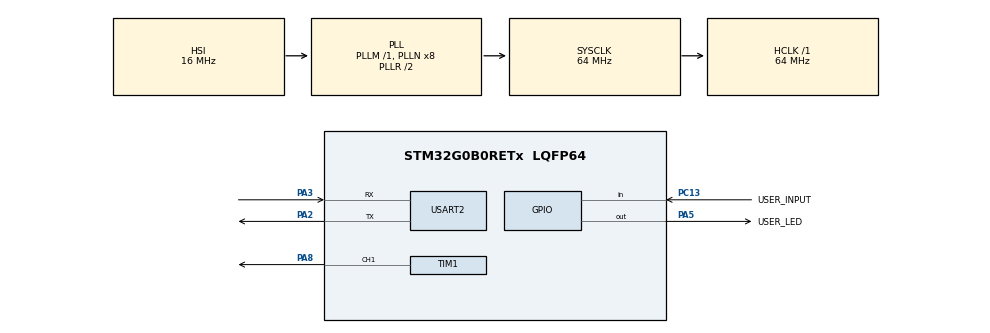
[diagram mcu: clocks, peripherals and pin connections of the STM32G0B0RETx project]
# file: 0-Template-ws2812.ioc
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Dma.Request0=TIM1_CH1
Dma.TIM1_CH1.0.Direction=DMA_MEMORY_TO_PERIPH
Dma.TIM1_CH1.0.EventEnable=DISABLE
Dma.TIM1_CH1.0.Instance=DMA1_Channel1
Dma.TIM1_CH1.0.MemDataAlignment=DMA_MDATAALIGN_HALFWORD
Dma.TIM1_CH1.0.MemInc=DMA_MINC_ENABLE
Dma.TIM1_CH1.0.Mode=DMA_NORMAL
Dma.TIM1_CH1.0.PeriphDataAlignment=DMA_PDATAALIGN_HALFWORD
Dma.TIM1_CH1.0.PeriphInc=DMA_PINC_DISABLE
Dma.TIM1_CH1.0.Polarity=HAL_DMAMUX_REQ_GEN_RISING
Dma.TIM1_CH1.0.Priority=DMA_PRIORITY_LOW
Dma.TIM1_CH1.0.RequestNumber=1
Dma.TIM1_CH1.0.SignalID=NONE
Dma.TIM1_CH1.0.SyncEnable=DISABLE
Dma.TIM1_CH1.0.SyncPolarity=HAL_DMAMUX_SYNC_NO_EVENT
Dma.TIM1_CH1.0.SyncRequestNumber=1
Dma.TIM1_CH1.0.SyncSignalID=NONE
Mcu.Family=STM32G0
Mcu.Name=STM32G0B0RETx
Mcu.Package=LQFP64
NVIC.DMA1_Channel1_IRQn=true\:0\:0\:false\:false\:true\:false\:true\:true
NVIC.USART2_IRQn=true\:0\:0\:false\:false\:true\:true\:true\:true
PA13.Mode=Serial_Wire
PA13.Signal=SYS_SWDIO
PA14-BOOT0.Mode=Serial_Wire
PA14-BOOT0.Signal=SYS_SWCLK
PA2.Mode=Asynchronous
PA2.Signal=USART2_TX
PA3.Mode=Asynchronous
PA3.Signal=USART2_RX
PA5.GPIO_Label=USER_LED
PA5.Signal=GPIO_Output
PA8.Signal=S_TIM1_CH1
PC13.GPIO_Label=USER_INPUT
PC13.Signal=GPIO_Input
PF0-OSC_IN\ (PF0).Mode=HSE-External-Oscillator
PF0-OSC_IN\ (PF0).Signal=RCC_OSC_IN
PF1-OSC_OUT\ (PF1).Mode=HSE-External-Oscillator
PF1-OSC_OUT\ (PF1).Signal=RCC_OSC_OUT
ProjectManager.HeapSize=0x200
ProjectManager.StackSize=0x400
ProjectManager.TargetToolchain=STM32CubeIDE
RCC.ADCFreq_Value=64000000
RCC.AHBFreq_Value=64000000
RCC.CortexFreq_Value=64000000
RCC.EXTERNAL_CLOCK_VALUE=48000
RCC.HCLKFreq_Value=64000000
RCC.HSE_VALUE=8000000
RCC.HSI_VALUE=16000000
RCC.LSE_VALUE=32768
RCC.SYSCLKFreq_VALUE=64000000
RCC.SYSCLKSource=RCC_SYSCLKSOURCE_PLLCLK
RCC.USBFreq_Value=64000000
RCC.VCOOutputFreq_Value=128000000
SH.S_TIM1_CH1.0=TIM1_CH1,PWM Generation1 CH1
TIM1.Channel-PWM\ Generation1\ CH1=TIM_CHANNEL_1
TIM1.Period=80-1
USART2.VirtualMode-Asynchronous=VM_ASYNC
VP_SYS_VS_DBSignals.Mode=DisableDeadBatterySignals
board=custom

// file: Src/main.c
/* USER CODE BEGIN Header */
/**
  ******************************************************************************
  * @file           : main.c
  * @brief          : Main program body
  ******************************************************************************
  * @attention
  *
  * Copyright (c) 2024 STMicroelectronics.
  * All rights reserved.
  *
  * This software is licensed under terms that can be found in the LICENSE file
  * in the root directory of this software component.
  * If no LICENSE file comes with this software, it is provided AS-IS.
  *
  ******************************************************************************
  */
/* USER CODE END Header */
#include "main.h"
#include "dma.h"
#include "tim.h"
#include "usart.h"
#include "gpio.h"

/* USER CODE BEGIN Includes */
#include <math.h>
#include "sys_timer.h"
#include <string.h>
/* USER CODE END Includes */

void SystemClock_Config(void);

/* USER CODE BEGIN 0 */
#define DELAY_VALUE (5000)
#define MAX_LED	(16)
#define PI 3.14159265
#define WS2812_USE_BRIGHTNESS

uint8_t g_aubLedData[MAX_LED][4];
uint8_t g_aubLedMod[MAX_LED][4];
int16_t g_aubPwmData[(24*MAX_LED)+20];
uint8_t g_ubDatasentflag = 0;

void Ws2812SetLed(uint8_t ubLedIndex, uint8_t ubRedColor, uint8_t ubGreenColor, uint8_t ubBlueColor)
{
	g_aubLedData[ubLedIndex][0] = ubLedIndex;
	g_aubLedData[ubLedIndex][1] = ubGreenColor;
	g_aubLedData[ubLedIndex][2] = ubRedColor;
	g_aubLedData[ubLedIndex][3] = ubBlueColor;
}

void Ws2812ClearAll(void)
{
	for(uint8_t i = 0 ; i < MAX_LED ; i++)
	{
		Ws2812SetLed(i, 0, 0, 0);
	}
}

void Ws2812SetAll(uint8_t ubRedColor, uint8_t ubGreenColor, uint8_t ubBlueColor)
{
	for(uint8_t i = 0 ; i < MAX_LED ; i++)
	{
		Ws2812SetLed(i, ubRedColor, ubGreenColor, ubBlueColor);
	}
}

void Ws2812Send(void)
{
	uint32_t color;
	uint32_t indx=0;
	for (int i= 0; i < MAX_LED; i++)
	{
#ifdef WS2812_USE_BRIGHTNESS
		color = ((g_aubLedMod[i][1]<<16) | (g_aubLedMod[i][2]<<8) | (g_aubLedMod[i][3]));
#else
		color = ((g_aubLedData[i][1]<<16) | (g_aubLedData[i][2]<<8) | (g_aubLedData[i][3]));
#endif
		for(int8_t i = 23 ; i >= 0 ; i--)
		{
			if (color&(1<<i))
			{
				g_aubPwmData[indx] = 53;
			}
			else
			{
				g_aubPwmData[indx] = 27;
			}
			indx++;
		}
	}
	for (int i=0; i<20; i++)
	{
		g_aubPwmData[indx] = 0;
		indx++;
	}
	HAL_TIM_PWM_Start_DMA(&htim1, TIM_CHANNEL_1, (uint32_t *)g_aubPwmData, indx);
	while (!g_ubDatasentflag){};
	g_ubDatasentflag = 0;
}

void W2812SetBrightness (uint8_t brightness)  // 0-45
{
	if (brightness > 45) brightness = 45;
	for (int i=0; i<MAX_LED; i++)
	{
		g_aubLedMod[i][0] = g_aubLedData[i][0];
		for (int j=1; j<4; j++)
		{
			float angle = 90-brightness;  // in degrees
			angle = angle*PI / 180;  // in rad
			g_aubLedMod[i][j] = (g_aubLedData[i][j])/(tan(angle));
		}
	}
}

void HAL_TIM_PWM_PulseFinishedCallback(TIM_HandleTypeDef *htim)
{
	HAL_TIM_PWM_Stop_DMA(&htim1, TIM_CHANNEL_1);
	g_ubDatasentflag = 1;
}

void hsv_to_rgb(int hue, float sat, float val, float *r, float *g, float *b);

void rainbow_effect(void) {
  static uint16_t color_offset = 0;
  for (int i = 0; i < MAX_LED; i++) {
    int hue = (i * 360 / MAX_LED + color_offset) % 360;
    float r, g, b;
    hsv_to_rgb(hue, 1.0, 1.0, &r, &g, &b); // Hàm chuyển đổi HSV sang RGB
    Ws2812SetLed(i, r * 255, g * 255, b * 255);
  }
  W2812SetBrightness(45);
  color_offset += 1;
}

void hsv_to_rgb(int hue, float sat, float val, float *r, float *g, float *b) {
  int h = hue / 60;
  float f = (float)hue / 60 - h;
  float p = val * (1 - sat);
  float q = val * (1 - f * sat);
  float t = val * (1 - (1 - f) * sat);

  switch (h) {
  case 0:
    *r = val, *g = t, *b = p;
    break;
  case 1:
    *r = q, *g = val, *b = p;
    break;
  case 2:
    *r = p, *g = val, *b = t;
    break;
  case 3:
    *r = p, *g = q, *b = val;
    break;
  case 4:
    *r = t, *g = p, *b = val;
    break;
  case 5:
  default:
    *r = val, *g = p, *b = q;
    break;
  }
}

/* USER CODE END 0 */

int main(void)
{

  /* MCU Configuration--------------------------------------------------------*/

  /* Reset of all peripherals, Initializes the Flash interface and the Systick. */
  HAL_Init();

  /* Configure the system clock */
  SystemClock_Config();

  /* Initialize all configured peripherals */
  MX_GPIO_Init();
  MX_DMA_Init();
  MX_TIM1_Init();
  MX_USART2_UART_Init();
  /* USER CODE BEGIN 2 */
  while(1)
  {
	  if(!HAL_GPIO_ReadPin(USER_INPUT_GPIO_Port, USER_INPUT_Pin)) break;
  }
  /* USER CODE END 2 */

  /* Infinite loop */
  while (1)
  {

    /* USER CODE BEGIN 3 */
	  SysTimerLoop();
  }
  /* USER CODE END 3 */
}

void SystemClock_Config(void)
{
  RCC_OscInitTypeDef RCC_OscInitStruct = {0};
  RCC_ClkInitTypeDef RCC_ClkInitStruct = {0};

  /** Configure the main internal regulator output voltage
  */
  HAL_PWREx_ControlVoltageScaling(PWR_REGULATOR_VOLTAGE_SCALE1);

  /** Initializes the RCC Oscillators according to the specified parameters
  * in the RCC_OscInitTypeDef structure.
  */
  RCC_OscInitStruct.OscillatorType = RCC_OSCILLATORTYPE_HSI;
  RCC_OscInitStruct.HSIState = RCC_HSI_ON;
  RCC_OscInitStruct.HSIDiv = RCC_HSI_DIV1;
  RCC_OscInitStruct.HSICalibrationValue = RCC_HSICALIBRATION_DEFAULT;
  RCC_OscInitStruct.PLL.PLLState = RCC_PLL_ON;
  RCC_OscInitStruct.PLL.PLLSource = RCC_PLLSOURCE_HSI;
  RCC_OscInitStruct.PLL.PLLM = RCC_PLLM_DIV1;
  RCC_OscInitStruct.PLL.PLLN = 8;
  RCC_OscInitStruct.PLL.PLLP = RCC_PLLP_DIV2;
  RCC_OscInitStruct.PLL.PLLQ = RCC_PLLQ_DIV2;
  RCC_OscInitStruct.PLL.PLLR = RCC_PLLR_DIV2;
  if (HAL_RCC_OscConfig(&RCC_OscInitStruct) != HAL_OK)
  {
    Error_Handler();
  }

  /** Initializes the CPU, AHB and APB buses clocks
  */
  RCC_ClkInitStruct.ClockType = RCC_CLOCKTYPE_HCLK|RCC_CLOCKTYPE_SYSCLK
                              |RCC_CLOCKTYPE_PCLK1;
  RCC_ClkInitStruct.SYSCLKSource = RCC_SYSCLKSOURCE_PLLCLK;
  RCC_ClkInitStruct.AHBCLKDivider = RCC_SYSCLK_DIV1;
  RCC_ClkInitStruct.APB1CLKDivider = RCC_HCLK_DIV1;

  if (HAL_RCC_ClockConfig(&RCC_ClkInitStruct, FLASH_LATENCY_2) != HAL_OK)
  {
    Error_Handler();
  }
}

/* USER CODE BEGIN 4 */
void SysTimer20msEvent(void)
{

}
void SysTimer50msEvent(void)
{
	static uint8_t s_ubLedIndex = 0;
	static uint8_t s_ubEffect = 0, s_ubPreEffect = 0;;
	static int8_t s_ubBrightness = 0;

	if(s_ubEffect == 0)
	{
		Ws2812SetLed(s_ubLedIndex, 255, 255, 0);
		W2812SetBrightness(45);

		s_ubLedIndex++;
		if(s_ubLedIndex >= MAX_LED) {
			s_ubLedIndex = 0;
			Ws2812ClearAll();
			s_ubEffect++;
		}
	}
	else if(s_ubEffect == 1)
	{
		Ws2812SetLed(s_ubLedIndex, 0, 255, 255);
		W2812SetBrightness(45);

		s_ubLedIndex++;
		if(s_ubLedIndex >= MAX_LED) {
			s_ubLedIndex = 0;
			Ws2812ClearAll();
			s_ubEffect++;
		}
	}
	else if(s_ubEffect == 2)
	{
		Ws2812SetLed(s_ubLedIndex, 255, 0, 255);
		W2812SetBrightness(45);

		s_ubLedIndex++;
		if(s_ubLedIndex >= MAX_LED) {
			s_ubLedIndex = 0;
			Ws2812ClearAll();
			s_ubEffect = 3;
		}
	}
	else if(s_ubEffect == 3)
	{
		for(uint8_t i = 0 ; i < MAX_LED; i++)
		{
			if(s_ubLedIndex%2)
			{
				if(i%2)
				{
					Ws2812SetLed(i, 128, 128, 0);
				} else {
					Ws2812SetLed(i, 128, 0, 200);
				}
			} else {
				if(i%2)
				{
					Ws2812SetLed(i, 128, 0, 200);
				} else {
					Ws2812SetLed(i, 128, 128, 0);
				}
			}
		}
		W2812SetBrightness(45);

		s_ubLedIndex++;
		if(s_ubLedIndex >= 20) {
			s_ubLedIndex = 0;
			Ws2812ClearAll();
			s_ubEffect = 4;
		}
	}
	else if(s_ubEffect == 4)
	{
		Ws2812SetLed(0, 255, 0, 0);
		Ws2812SetLed(1, 0, 255, 0);
		Ws2812SetLed(2, 0, 0, 255);
		Ws2812SetLed(3, 46, 89, 128);
		Ws2812SetLed(4, 156, 233, 100);
		Ws2812SetLed(5, 102, 0, 235);
		Ws2812SetLed(6, 47, 38, 77);
		Ws2812SetLed(7, 255, 200, 0);
		Ws2812SetLed(8, 255, 0, 0);
		Ws2812SetLed(9, 0, 255, 0);
		Ws2812SetLed(10, 0, 0, 255);
		Ws2812SetLed(11, 46, 89, 128);
		Ws2812SetLed(12, 156, 233, 100);
		Ws2812SetLed(13, 102, 0, 235);
		Ws2812SetLed(14, 47, 38, 77);
		Ws2812SetLed(15, 255, 200, 0);

		W2812SetBrightness(s_ubBrightness);
		Ws2812Send();
		s_ubBrightness+=10;
		if(s_ubBrightness > 45)
		{
			s_ubBrightness = 45;
			Ws2812ClearAll();
			s_ubEffect = 5;
		}
	}
	else if(s_ubEffect == 5)
	{
		Ws2812SetLed(0, 255, 0, 0);
		Ws2812SetLed(1, 0, 255, 0);
		Ws2812SetLed(2, 0, 0, 255);
		Ws2812SetLed(3, 46, 89, 128);
		Ws2812SetLed(4, 156, 233, 100);
		Ws2812SetLed(5, 102, 0, 235);
		Ws2812SetLed(6, 47, 38, 77);
		Ws2812SetLed(7, 255, 200, 0);
		Ws2812SetLed(8, 255, 0, 0);
		Ws2812SetLed(9, 0, 255, 0);
		Ws2812SetLed(10, 0, 0, 255);
		Ws2812SetLed(11, 46, 89, 128);
		Ws2812SetLed(12, 156, 233, 100);
		Ws2812SetLed(13, 102, 0, 235);
		Ws2812SetLed(14, 47, 38, 77);
		Ws2812SetLed(15, 255, 200, 0);

		W2812SetBrightness(s_ubBrightness);
		Ws2812Send();
		s_ubBrightness-=10;
		if(s_ubBrightness <= 0)
		{
			s_ubBrightness = 0;
			Ws2812ClearAll();
			s_ubEffect = 6;
		}
	}
	else if(s_ubEffect == 6)
	{
		rainbow_effect();
	}

	Ws2812Send();
	if(s_ubEffect != s_ubPreEffect)
	{
		while(1) if(!HAL_GPIO_ReadPin(USER_INPUT_GPIO_Port, USER_INPUT_Pin)) break;
		s_ubPreEffect = s_ubEffect;
	}
}
void SysTimer100msEvent(void)
{

}
void SysTimer500msEvent(void)
{

}
void SysTimer1000msEvent(void)
{

}
/* USER CODE END 4 */

void Error_Handler(void)
{
  __disable_irq();
  while (1)
  {
  }
}
